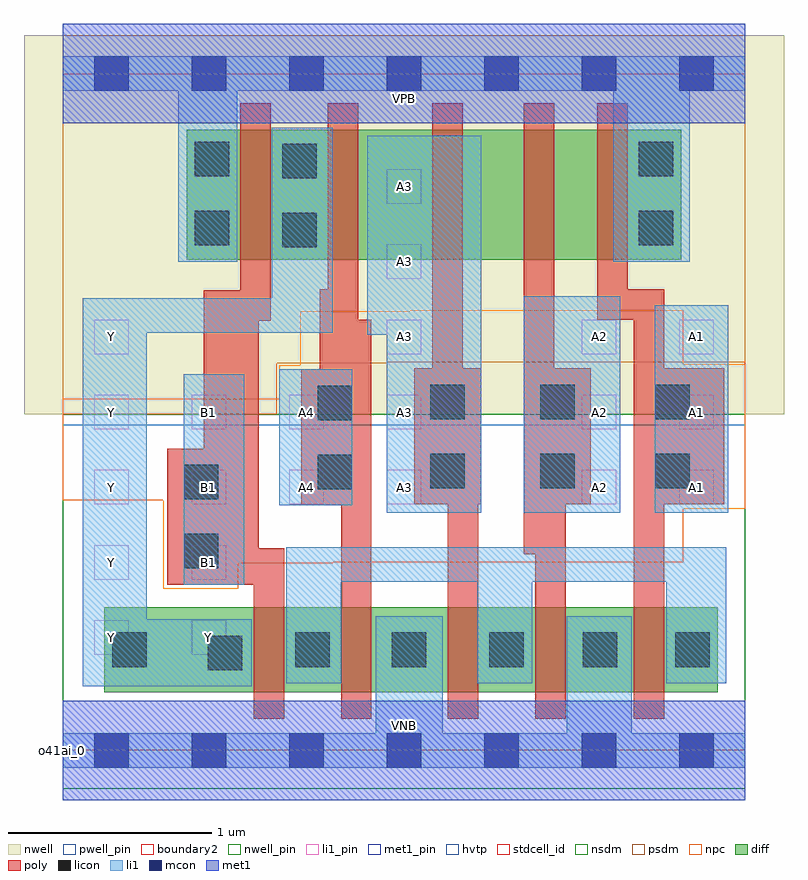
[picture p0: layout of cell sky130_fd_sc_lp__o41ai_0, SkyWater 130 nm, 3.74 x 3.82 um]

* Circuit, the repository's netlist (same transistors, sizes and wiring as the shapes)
* Copyright 2020 The SkyWater PDK Authors
*
* Licensed under the Apache License, Version 2.0 (the "License");
* you may not use this file except in compliance with the License.
* You may obtain a copy of the License at
*
*     https://www.apache.org/licenses/LICENSE-2.0
*
* Unless required by applicable law or agreed to in writing, software
* distributed under the License is distributed on an "AS IS" BASIS,
* WITHOUT WARRANTIES OR CONDITIONS OF ANY KIND, either express or implied.
* See the License for the specific language governing permissions and
* limitations under the License.
*
* SPDX-License-Identifier: Apache-2.0

.SUBCKT sky130_fd_sc_lp__o41ai_0 A1 A2 A3 A4 B1 VGND VNB VPB VPWR Y
*.PININFO A1:I A2:I A3:I A4:I B1:I VGND:I VNB:I VPB:I VPWR:I Y:O
MMPA0 VPWR A1 sndA1 VPB sky130_fd_pr__pfet_01v8_hvt m=1 w=0.64U l=0.15U mult=1
+ sa=0.265 sb=0.265 sd=0.28 area=0.063 perim=1.14
MMPA1 sndA1 A2 sndA2 VPB sky130_fd_pr__pfet_01v8_hvt m=1 w=0.64U l=0.15U mult=1
+ sa=0.265 sb=0.265 sd=0.28 area=0.063 perim=1.14
MMPA2 sndA2 A3 sndA3 VPB sky130_fd_pr__pfet_01v8_hvt m=1 w=0.64U l=0.15U mult=1
+ sa=0.265 sb=0.265 sd=0.28 area=0.063 perim=1.14
MMPA3 sndA3 A4 Y VPB sky130_fd_pr__pfet_01v8_hvt m=1 w=0.64U l=0.15U mult=1 sa=0.265
+ sb=0.265 sd=0.28 area=0.063 perim=1.14
MMPB0 VPWR B1 Y VPB sky130_fd_pr__pfet_01v8_hvt m=1 w=0.64U l=0.15U mult=1 sa=0.265
+ sb=0.265 sd=0.28 area=0.063 perim=1.14
MMNA0 pndA A1 VGND VNB sky130_fd_pr__nfet_01v8 m=1 w=0.42U l=0.15U mult=1 sa=0.265
+ sb=0.265 sd=0.28 area=0.063 perim=1.14
MMNA1 pndA A2 VGND VNB sky130_fd_pr__nfet_01v8 m=1 w=0.42U l=0.15U mult=1 sa=0.265
+ sb=0.265 sd=0.28 area=0.063 perim=1.14
MMNA2 pndA A3 VGND VNB sky130_fd_pr__nfet_01v8 m=1 w=0.42U l=0.15U mult=1 sa=0.265
+ sb=0.265 sd=0.28 area=0.063 perim=1.14
MMNA3 pndA A4 VGND VNB sky130_fd_pr__nfet_01v8 m=1 w=0.42U l=0.15U mult=1 sa=0.265
+ sb=0.265 sd=0.28 area=0.063 perim=1.14
MMNB0 Y B1 pndA VNB sky130_fd_pr__nfet_01v8 m=1 w=0.42U l=0.15U mult=1 sa=0.265
+ sb=0.265 sd=0.28 area=0.063 perim=1.14
.ENDS sky130_fd_sc_lp__o41ai_0

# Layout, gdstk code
import gdstk
lib = gdstk.Library(unit=1e-6, precision=1e-09)
def R(c, l, rs):  # rectangles x0, y0, x1, y1
    for r in rs: c.add(gdstk.rectangle(r[:2], r[2:], *l))
def A(c, l, x, y, w, h, nx, ny, dx, dy):  # array of equal rectangles
    R(c, l, [(x+i*dx, y+j*dy, x+i*dx+w, y+j*dy+h) for i in range(nx) for j in range(ny)])
def P(c, l, *ps):  # polygons
    for p in ps: c.add(gdstk.Polygon(p, *l))
nwell_pin = (64, 16)
nwell = (64, 20)
diff = (65, 20)
poly = (66, 20)
licon = (66, 44)
li1_pin = (67, 16)
li1 = (67, 20)
mcon = (67, 44)
met1_pin = (68, 16)
met1 = (68, 20)
hvtp = (78, 44)
stdcell_id = (81, 4)
nsdm = (93, 44)
psdm = (94, 20)
npc = (95, 20)
pwell_pin = (122, 16)
boundary2 = (236, 0)

sky130_fd_sc_lp__o41ai_0 = lib.new_cell('sky130_fd_sc_lp__o41ai_0')
R(sky130_fd_sc_lp__o41ai_0, nwell_pin, [(0,3.085,3.36,3.33)])
R(sky130_fd_sc_lp__o41ai_0, nwell, [(-0.19,1.655,3.55,3.52)])
R(sky130_fd_sc_lp__o41ai_0, diff, [(0.205,0.285,3.225,0.705), (0.61,2.415,3.045,3.055)])
P(sky130_fd_sc_lp__o41ai_0, poly, [(3.255,1.88),(2.96,1.88),(2.96,2.27),(2.78,2.27),(2.78,3.185),(2.63,3.185),(2.63,2.12),(2.81,2.12),(2.81,0.155),(2.96,0.155),(2.96,1.21),(3.255,1.21)],
  [(2.6,1.88),(2.42,1.88),(2.42,3.185),(2.27,3.185),(2.27,0.965),(2.325,0.965),(2.325,0.155),(2.475,0.155),(2.475,1.21),(2.6,1.21)],
  [(2.06,1.88),(1.97,1.88),(1.97,3.185),(1.82,3.185),(1.82,1.88),(1.73,1.88),(1.73,1.21),(1.895,1.21),(1.895,0.155),(2.045,0.155),(2.045,1.21),(2.06,1.21)],
  [(1.52,2.12),(1.455,2.12),(1.455,3.185),(1.305,3.185),(1.305,2.27),(1.265,2.27),(1.265,1.875),(1.175,1.875),(1.175,1.205),(1.37,1.205),(1.37,0.155),(1.52,0.155)],
  [(1.09,0.995),(0.965,0.995),(0.965,2.115),(1.025,2.115),(1.025,3.185),(0.875,3.185),(0.875,2.265),(0.695,2.265),(0.695,1.485),(0.515,1.485),(0.515,0.815),(0.94,0.815),(0.94,0.155),(1.09,0.155)])
R(sky130_fd_sc_lp__o41ai_0, licon, [(0.715,0.395,0.885,0.565), (0.245,0.41,0.415,0.58), (1.145,0.41,1.315,0.58), (1.62,0.41,1.79,0.58), (2.1,0.41,2.27,0.58), (2.56,0.41,2.73,0.58), (3.015,0.41,3.185,0.58), (0.595,0.895,0.765,1.065), (0.595,1.235,0.765,1.405), (1.255,1.285,1.425,1.455), (1.81,1.29,1.98,1.46), (2.35,1.29,2.52,1.46), (2.915,1.29,3.085,1.46), (1.255,1.625,1.425,1.795), (1.81,1.63,1.98,1.8), (2.35,1.63,2.52,1.8), (2.915,1.63,3.085,1.8), (1.08,2.475,1.25,2.645), (0.65,2.485,0.82,2.655), (2.835,2.485,3.005,2.655), (1.08,2.815,1.25,2.985), (0.65,2.825,0.82,2.995), (2.835,2.825,3.005,2.995)])
A(sky130_fd_sc_lp__o41ai_0, li1_pin, 0.155, 1.21, 0.17, 0.17, 4, 2, 0.48, 0.37)
A(sky130_fd_sc_lp__o41ai_0, li1_pin, 2.555, 1.21, 0.17, 0.17, 1, 3, 0, 0.37)
A(sky130_fd_sc_lp__o41ai_0, li1_pin, 3.035, 1.21, 0.17, 0.17, 1, 3, 0, 0.37)
A(sky130_fd_sc_lp__o41ai_0, li1_pin, 1.595, 1.95, 0.17, 0.17, 1, 3, 0, 0.37)
R(sky130_fd_sc_lp__o41ai_0, li1_pin, [(0.155,0.47,0.325,0.64), (0.635,0.47,0.805,0.64), (0.155,0.84,0.325,1.01), (0.635,0.84,0.805,1.01), (0.155,1.95,0.325,2.12)])
R(sky130_fd_sc_lp__o41ai_0, li1, [(0.595,0.815,0.895,1.85), (2.27,1.17,2.745,2.235), (2.915,1.17,3.275,2.19), (1.065,1.205,1.425,1.875)])
P(sky130_fd_sc_lp__o41ai_0, li1, [(3.36,3.415),(0,3.415),(0,3.245),(0.57,3.245),(0.57,2.405),(0.86,2.405),(0.86,3.245),(2.71,3.245),(2.71,2.405),(3.085,2.405),(3.085,3.245),(3.36,3.245)],
  [(3.265,1),(1.1,1),(1.1,0.33),(1.37,0.33),(1.37,0.83),(2.04,0.83),(2.04,0.33),(2.31,0.33),(2.31,0.83),(2.97,0.83),(2.97,0.33),(3.265,0.33)],
  [(3.36,0.085),(2.8,0.085),(2.8,0.66),(2.48,0.66),(2.48,0.085),(1.87,0.085),(1.87,0.66),(1.54,0.66),(1.54,0.085),(0,0.085),(0,-0.085),(3.36,-0.085)],
  [(1.33,3.065),(1.03,3.065),(1.03,2.225),(0.1,2.225),(0.1,0.315),(0.93,0.315),(0.93,0.645),(0.415,0.645),(0.415,2.055),(1.33,2.055)],
  [(2.06,3.025),(1.5,3.025),(1.5,2.045),(1.595,2.045),(1.595,1.17),(2.06,1.17)])
A(sky130_fd_sc_lp__o41ai_0, mcon, 0.155, -0.085, 0.17, 0.17, 7, 2, 0.48, 3.33)
R(sky130_fd_sc_lp__o41ai_0, met1_pin, [(0,0,3.36,0.245), (0,3.085,3.36,3.33)])
R(sky130_fd_sc_lp__o41ai_0, met1, [(0,-0.245,3.36,0.245), (0,3.085,3.36,3.575)])
R(sky130_fd_sc_lp__o41ai_0, hvtp, [(0,1.6,3.36,3.33)])
R(sky130_fd_sc_lp__o41ai_0, stdcell_id, [(0,0,3.36,3.33)])
R(sky130_fd_sc_lp__o41ai_0, nsdm, [(0,-0.19,3.36,1.655)])
P(sky130_fd_sc_lp__o41ai_0, psdm, [(3.36,3.52),(0,3.52),(0,1.655),(1.055,1.655),(1.055,1.905),(1.595,1.905),(1.595,1.91),(3.36,1.91)])
P(sky130_fd_sc_lp__o41ai_0, npc, [(3.36,1.9),(3.055,1.9),(3.055,2.165),(1.71,2.165),(1.71,2.16),(1.17,2.16),(1.17,1.895),(1.065,1.895),(1.065,1.73),(0,1.73),(0,1.23),(0.495,1.23),(0.495,0.795),(0.865,0.795),(0.865,0.92),(1.33,0.92),(1.33,0.925),(3.055,0.925),(3.055,1.19),(3.36,1.19)])
R(sky130_fd_sc_lp__o41ai_0, pwell_pin, [(0,0,3.36,0.245)])
R(sky130_fd_sc_lp__o41ai_0, boundary2, [(0,0,3.36,3.33)])
sky130_fd_sc_lp__o41ai_0.add(gdstk.Label('VNB', (1.68,0.123), layer=64, texttype=59))
sky130_fd_sc_lp__o41ai_0.add(gdstk.Label('VPB', (1.68,3.208), layer=64, texttype=5))
sky130_fd_sc_lp__o41ai_0.add(gdstk.Label('o41ai_0', (0,0), layer=83, texttype=44))
sky130_fd_sc_lp__o41ai_0.add(gdstk.Label('VPWR', (1.68,3.208), layer=68, texttype=5))
sky130_fd_sc_lp__o41ai_0.add(gdstk.Label('VGND', (1.68,0.123), layer=68, texttype=5))
sky130_fd_sc_lp__o41ai_0.add(gdstk.Label('A1', (3.12,1.295), layer=67, texttype=5))
sky130_fd_sc_lp__o41ai_0.add(gdstk.Label('A1', (3.12,1.665), layer=67, texttype=5))
sky130_fd_sc_lp__o41ai_0.add(gdstk.Label('A1', (3.12,2.035), layer=67, texttype=5))
sky130_fd_sc_lp__o41ai_0.add(gdstk.Label('A2', (2.64,1.295), layer=67, texttype=5))
sky130_fd_sc_lp__o41ai_0.add(gdstk.Label('A2', (2.64,1.665), layer=67, texttype=5))
sky130_fd_sc_lp__o41ai_0.add(gdstk.Label('A2', (2.64,2.035), layer=67, texttype=5))
sky130_fd_sc_lp__o41ai_0.add(gdstk.Label('A3', (1.68,1.295), layer=67, texttype=5))
sky130_fd_sc_lp__o41ai_0.add(gdstk.Label('A3', (1.68,1.665), layer=67, texttype=5))
sky130_fd_sc_lp__o41ai_0.add(gdstk.Label('A3', (1.68,2.035), layer=67, texttype=5))
sky130_fd_sc_lp__o41ai_0.add(gdstk.Label('A3', (1.68,2.405), layer=67, texttype=5))
sky130_fd_sc_lp__o41ai_0.add(gdstk.Label('A4', (1.2,1.295), layer=67, texttype=5))
sky130_fd_sc_lp__o41ai_0.add(gdstk.Label('A4', (1.2,1.665), layer=67, texttype=5))
sky130_fd_sc_lp__o41ai_0.add(gdstk.Label('Y', (0.24,2.035), layer=67, texttype=5))
sky130_fd_sc_lp__o41ai_0.add(gdstk.Label('B1', (0.72,0.925), layer=67, texttype=5))
sky130_fd_sc_lp__o41ai_0.add(gdstk.Label('B1', (0.72,1.295), layer=67, texttype=5))
sky130_fd_sc_lp__o41ai_0.add(gdstk.Label('B1', (0.72,1.665), layer=67, texttype=5))
sky130_fd_sc_lp__o41ai_0.add(gdstk.Label('A3', (1.68,2.775), layer=67, texttype=5))
sky130_fd_sc_lp__o41ai_0.add(gdstk.Label('Y', (0.72,0.555), layer=67, texttype=5))
sky130_fd_sc_lp__o41ai_0.add(gdstk.Label('Y', (0.24,0.555), layer=67, texttype=5))
sky130_fd_sc_lp__o41ai_0.add(gdstk.Label('Y', (0.24,0.925), layer=67, texttype=5))
sky130_fd_sc_lp__o41ai_0.add(gdstk.Label('Y', (0.24,1.295), layer=67, texttype=5))
sky130_fd_sc_lp__o41ai_0.add(gdstk.Label('Y', (0.24,1.665), layer=67, texttype=5))

lib.write_gds('sky130_fd_sc_lp__o41ai_0.gds')
